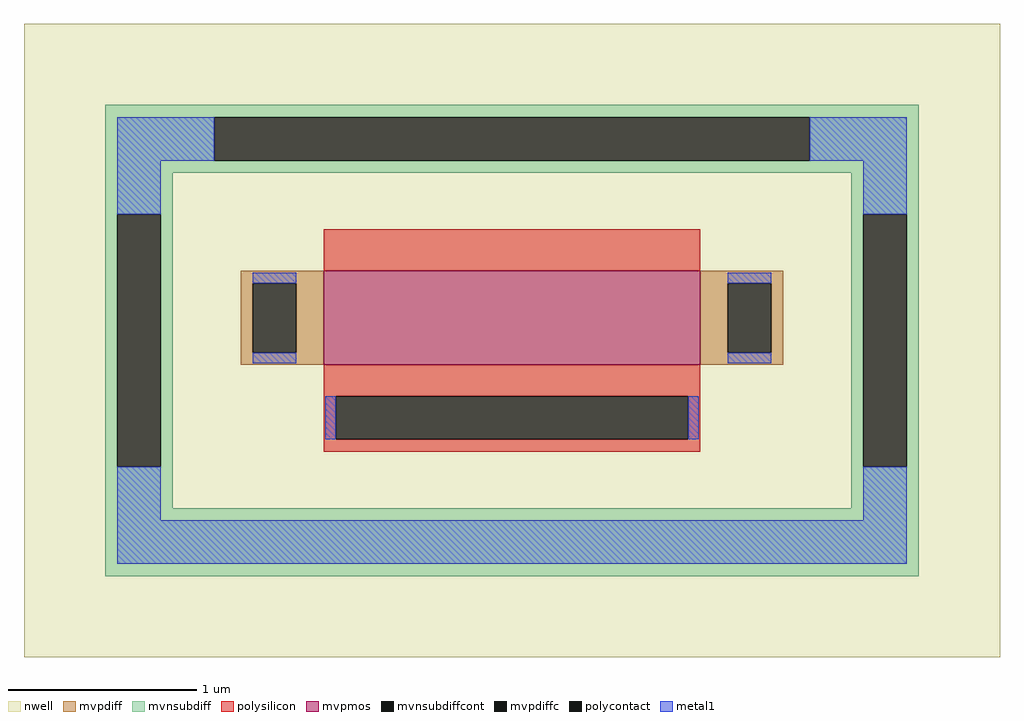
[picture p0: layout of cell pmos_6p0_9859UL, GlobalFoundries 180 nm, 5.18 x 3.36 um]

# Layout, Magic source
magic
tech gf180mcuD
magscale 1 10
<< nwell >>
rect -518 -336 518 336
<< mvpmos >>
rect -200 -26 200 74
<< mvpdiff >>
rect -288 61 -200 74
rect -288 -13 -275 61
rect -229 -13 -200 61
rect -288 -26 -200 -13
rect 200 61 288 74
rect 200 -13 229 61
rect 275 -13 288 61
rect 200 -26 288 -13
<< mvpdiffc >>
rect -275 -13 -229 61
rect 229 -13 275 61
<< mvnsubdiff >>
rect -432 237 432 250
rect -432 191 -316 237
rect 316 191 432 237
rect -432 178 432 191
rect -432 134 -360 178
rect -432 -134 -419 134
rect -373 -134 -360 134
rect 360 134 432 178
rect -432 -178 -360 -134
rect 360 -134 373 134
rect 419 -134 432 134
rect 360 -178 432 -134
rect -432 -250 432 -178
<< mvnsubdiffcont >>
rect -316 191 316 237
rect -419 -134 -373 134
rect 373 -134 419 134
<< polysilicon >>
rect -200 74 200 118
rect -200 -59 200 -26
rect -200 -105 -187 -59
rect 187 -105 200 -59
rect -200 -118 200 -105
<< polycontact >>
rect -187 -105 187 -59
<< metal1 >>
rect -419 191 -316 237
rect 316 191 419 237
rect -419 134 -373 191
rect 373 134 419 191
rect -275 61 -229 72
rect -275 -24 -229 -13
rect 229 61 275 72
rect 229 -24 275 -13
rect -198 -105 -187 -59
rect 187 -105 198 -59
rect -419 -191 -373 -134
rect 373 -191 419 -134
rect -419 -237 419 -191
<< properties >>
string FIXED_BBOX -396 -214 396 214
string gencell pmos_6p0
string library gf180mcu
string parameters w 0.5 l 2.0 m 1 nf 1 diffcov 100 polycov 100 guard 1 glc 1 grc 1 gtc 1 gbc 0 tbcov 100 rlcov 100 topc 0 botc 1 poverlap 0 doverlap 1 lmin 0.5 wmin 0.3 full_metal 1 compatible {pmos_3p3 pmos_6p0}
<< end >>
